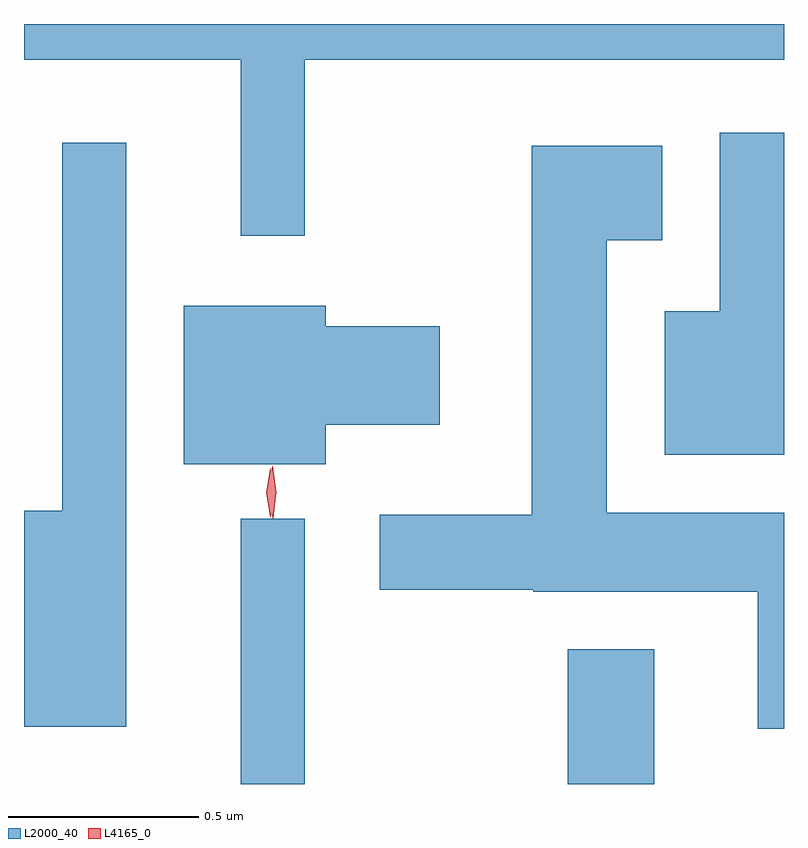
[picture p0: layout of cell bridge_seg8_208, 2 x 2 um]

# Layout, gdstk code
import gdstk
lib = gdstk.Library(unit=1e-6, precision=1e-09)
def R(c, l, rs):  # rectangles x0, y0, x1, y1
    for r in rs: c.add(gdstk.rectangle(r[:2], r[2:], *l))
def P(c, l, *ps):  # polygons
    for p in ps: c.add(gdstk.Polygon(p, *l))
L2000_40 = (2000, 40)
L4165_0 = (4165, 0)

bridge_seg8_208 = lib.new_cell('bridge_seg8_208')
R(bridge_seg8_208, L2000_40, [(1167.281,1905.55,1167.449,1906.248), (1168.141,1905.55,1168.369,1905.904)])
P(bridge_seg8_208, L2000_40, [(1167.449,1907.456),(1168.71,1907.456),(1168.71,1907.55),(1166.71,1907.55),(1166.71,1907.456),(1167.281,1907.456),(1167.281,1906.993),(1167.449,1906.993)],
  [(1168.71,1907.264),(1168.541,1907.264),(1168.541,1906.794),(1168.396,1906.794),(1168.396,1906.416),(1168.71,1906.416)],
  [(1166.979,1907.238),(1166.811,1907.238),(1166.811,1906.269),(1166.71,1906.269),(1166.71,1905.701),(1166.979,1905.701)],
  [(1168.71,1906.264),(1168.244,1906.264),(1168.244,1906.981),(1168.389,1906.981),(1168.389,1907.229),(1168.046,1907.229),(1168.046,1906.259),(1167.646,1906.259),(1167.646,1906.061),(1168.05,1906.061),(1168.05,1906.056),(1168.641,1906.056),(1168.641,1905.696),(1168.71,1905.696)],
  [(1167.504,1906.496),(1167.804,1906.496),(1167.804,1906.754),(1167.504,1906.754),(1167.504,1906.809),(1167.131,1906.809),(1167.131,1906.391),(1167.504,1906.391)])
P(bridge_seg8_208, L4165_0, [(1167.364,1906.25),(1167.354,1906.318),(1167.363,1906.386),(1167.364,1906.386),(1167.364,1906.386),(1167.374,1906.318),(1167.366,1906.25),(1167.365,1906.25)],
  [(1167.358,1906.252),(1167.358,1906.253),(1167.348,1906.316),(1167.358,1906.379),(1167.358,1906.38),(1167.359,1906.379),(1167.368,1906.316),(1167.359,1906.253)])

lib.write_gds('bridge_seg8_208.gds')
